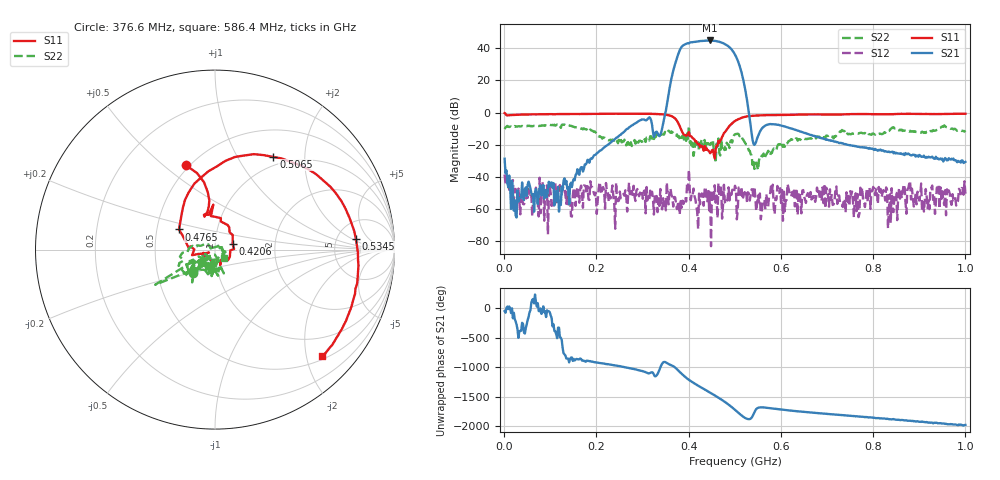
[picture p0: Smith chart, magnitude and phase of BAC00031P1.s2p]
!measured: 2026-10-27T15:21:54
!cal_instance: BBtestOct27
!cal_created: 2026-10-27T14:45
!cal_file: BBtesting.cal
!port1_delay_ps: -58.63
!port2_delay_ps: -59.31
!host: dhcp-10-250-247-203.harvard.edu
! Created with skrf 2.1.0 (http://scikit-rf.org).
# Hz S RI R 50.0
!freq ReS11 ImS11 ReS21 ImS21 ReS12 ImS12 ReS22 ImS22
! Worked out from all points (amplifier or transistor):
!   501 points, 1 MHz to 1 GHz, reference 50 ohm
!   highest |S21| = 44.9 dB at 446.6 MHz (marker M1)
!   |S21| within 3 dB of that: 388.5 MHz to 483 MHz (94.41 MHz wide, 21.7 % of centre)
!   unconditionally stable (mu >= 1): start of sweep to 396.4 MHz; 401.9 MHz to 456.5 MHz; 476.6 MHz to end of sweep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
!   at 166.8 MHz: K = 759.11, MAG = -26.1 dB, |S12| = -45.4 dB
!   at 500.5 MHz: K = 1.08, MAG = 39.1 dB, |S12| = -45.5 dB
!   at 1 GHz: K = 798.66, MAG = -22.1 dB, |S12| = -50.4 dB
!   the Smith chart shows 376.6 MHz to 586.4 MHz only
!   S11 on the Smith chart (normalised r, x): 376.6 MHz: 0.48, +0.60; 420.6 MHz: 1.21, +0.08; 476.5 MHz: 0.65, +0.15; 506.5 MHz: 0.87, +1.43; 534.5 MHz: 7.62, +2.40; 586.4 MHz: 0.57, -2.31
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1000000  -0.3687 0.892  0.0226 -0.0289  0.00317 0.0114  0.2999 -0.0767
1.68832e8  0.5023 -0.7552  -0.0197 -0.00392  0.00293 -0.000738  -0.0272 -0.3205
3.34666e8  -0.8283 -0.3538  0.1983 -0.0126  -0.000482 0.00212  0.0529 -0.2042
3.64636e8  -0.6338 0.4076  -3.864 14.88  0.000272 0.0023  -0.0527 -0.2271
3.76624e8  -0.1638 0.4718  53.04 29.9  0.000559 0.00133  -0.1231 -0.1276
3.86614e8  -0.0349 0.2383  83.26 -83.4  -0.00139 -0.00118  -0.1478 -0.1208
3.96604e8  -0.0618 0.1944  -53.17 -131.1  0.0059 -0.00171  -0.1273 -0.1828
4.08592e8  0.0325 0.1568  -155.1 -8.054  -0.00161 0.00212  -0.0348 -0.11
4.2058e8  0.0979 0.0307  -95.01 133.1  0.000105 0.000214  -0.0379 -0.113
4.32568e8  0.032 -0.0575  53.81 162.1  -0.00123 0.000321  -0.0632 -0.0822
4.46554e8  -0.0497 -0.0229  173.5 25.67  -0.00129 -0.00305  -0.0913 -0.0376
4.54546e8  -0.0471 -0.0214  150.6 -82.06  -0.00131 -0.00151  -0.015 -0.0654
4.62538e8  -0.0918 -0.024  65.27 -150.5  0.000491 0.000197  -0.0382 -0.0788
4.76524e8  -0.2008 0.1121  -103.8 -94.6  -0.00414 0.00394  -0.0664 -0.0142
4.9051e8  -0.0739 0.4046  -79.68 62.06  0.00352 0.000126  -0.0564 -0.1137
5.005e8  0.1544 0.523  13.68 62.1  -0.00531 0.000189  -0.1493 -0.1508
5.06494e8  0.3255 0.5162  33.3 24.7  0.00081 -0.000491  -0.2022 -0.091
5.34466e8  0.7847 0.06  0.1121 -0.3509  0.00266 -0.000803  -0.0445 0.0245
5.86414e8  0.5987 -0.5931  -0.0491 0.4298  0.00068 -0.000136  0.0516 -0.0469
6.68332e8  0.1014 -0.8711  0.1678 0.0942  0.00235 0.000845  0.0373 -0.1714
8.34166e8  -0.5682 -0.688  0.0104 -0.0606  8e-05 -0.00104  -0.1616 -0.2156
1e9  -0.8772 -0.2779  -0.0294 -0.000747  -0.000384 -0.00299  -0.2293 -0.159
